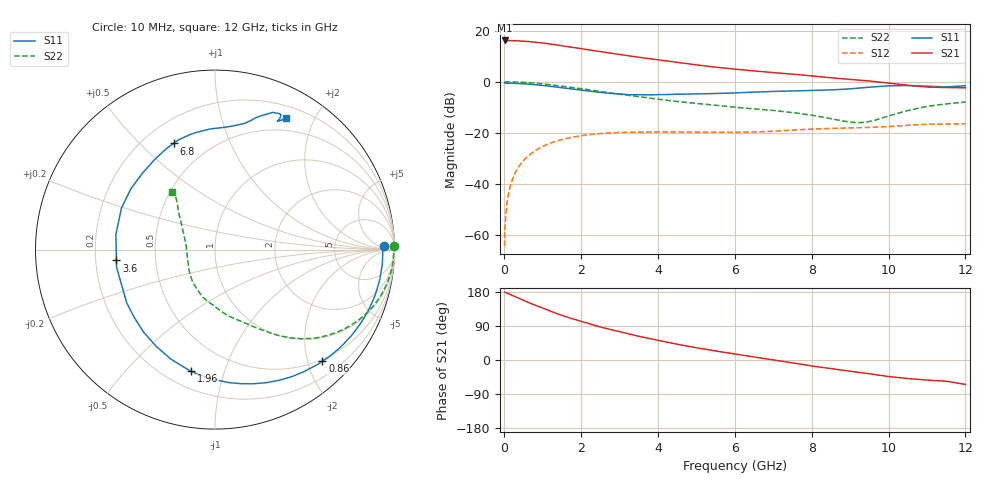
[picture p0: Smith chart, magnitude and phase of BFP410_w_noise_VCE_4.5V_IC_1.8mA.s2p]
! Infineon Technologies  Discrete & RF Semiconductors
! BFP410
! VCE =  4.5 V,  IC =  1.8 mA
! Common Emitter S-Parameters:  Nov 2015
# GHz  S  MA  R  50
!  f  S11  S21  S12  S22
! GHz  MAG  ANG  MAG  ANG  MAG  ANG  MAG  ANG
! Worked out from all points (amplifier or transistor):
!   243 points, 10 MHz to 12 GHz, reference 50 ohm
!   highest |S21| = 16.1 dB at 10 MHz (marker M1)
!   |S21| within 3 dB of that: start of sweep to 1.916 GHz
!   unconditionally stable (mu >= 1): 4.202 GHz to end of sweep
!   at 240 MHz: K = 0.08, MSG = 26.6 dB, |S12| = -37.3 dB
!   at 1.84 GHz: K = 0.35, MSG = 17.4 dB, |S12| = -21.6 dB
!   at 12 GHz: K = 1.15, MAG = 4.7 dB, |S12| = -16.5 dB
!   lowest NFmin = 0.81 dB at 900 MHz
!   S11 on the Smith chart (normalised r, x): 10 MHz: 29, +11; 860 MHz: 0.47, -2.27; 1.96 GHz: 0.30, -0.78; 3.6 GHz: 0.29, -0.05; 6.8 GHz: 0.32, +0.63; 12 GHz: 0.34, +1.62
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0.01  0.9424 1.3  6.414 179.2  0.0006 35.8  1 1.2
0.02  0.9351 -0.4  6.357 179.1  0.0014 62.0  0.9883 0.4
0.065  0.9351 -3.2  6.339 176.8  0.0038 78.3  0.9953 -1.2
0.185  0.9328 -9.8  6.354 171.7  0.0106 81.0  0.9928 -4.6
0.5  0.9096 -26.9  6.221 157.7  0.0284 74.4  0.9708 -12.6
0.86  0.8632 -46.1  5.874 142.4  0.0471 64.7  0.9254 -21.3
1.1  0.8277 -58.7  5.594 132.7  0.0583 58.3  0.8868 -26.7
1.34  0.7867 -71.0  5.277 123.5  0.0679 52.1  0.8443 -31.6
1.6  0.7451 -84.0  4.941 114.3  0.0768 45.8  0.7977 -36.4
1.96  0.6903 -101.0  4.483 102.9  0.0864 38.2  0.7362 -42.1
2.02  0.6812 -103.7  4.408 101.1  0.0878 37.0  0.7262 -43.0
2.4  0.6301 -121.5  3.995 90.0  0.0951 29.7  0.6613 -48.3
2.78  0.5889 -139.1  3.609 79.8  0.0995 23.3  0.5996 -53.1
3.6  0.5527 -173.7  2.944 60.5  0.1031 13.0  0.4959 -61.9
4.1  0.5578 168.2  2.621 49.8  0.1038 8.4  0.4447 -67.4
5  0.5785 144.0  2.134 32.2  0.1031 2.2  0.375 -79.0
6.1  0.6063 122.5  1.731 14.4  0.1021 -0.9  0.3112 -91.5
6.8  0.635 111.3  1.552 3.4  0.1056 -1.6  0.2806 -101.5
8.2  0.6772 88.7  1.256 -18.5  0.1193 -6.7  0.207 -129.4
9.2  0.7456 74.6  1.076 -32.3  0.1251 -10.9  0.1575 -172.6
10.2  0.8336 65.9  0.903 -45.7  0.1352 -14.2  0.2353 142.7
12  0.8306 61.6  0.759 -64.5  0.15 -27.0  0.3991 126.5
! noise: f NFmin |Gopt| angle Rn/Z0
0.45  0.85  0.54  8  0.31
0.9  0.81  0.52  22  0.28
1.8  1.05  0.41  56  0.24
2.4  1.11  0.38  66  0.23
5.5  2.29  0.37  -144  0.22
10  4.11  0.71  -57  2.47
